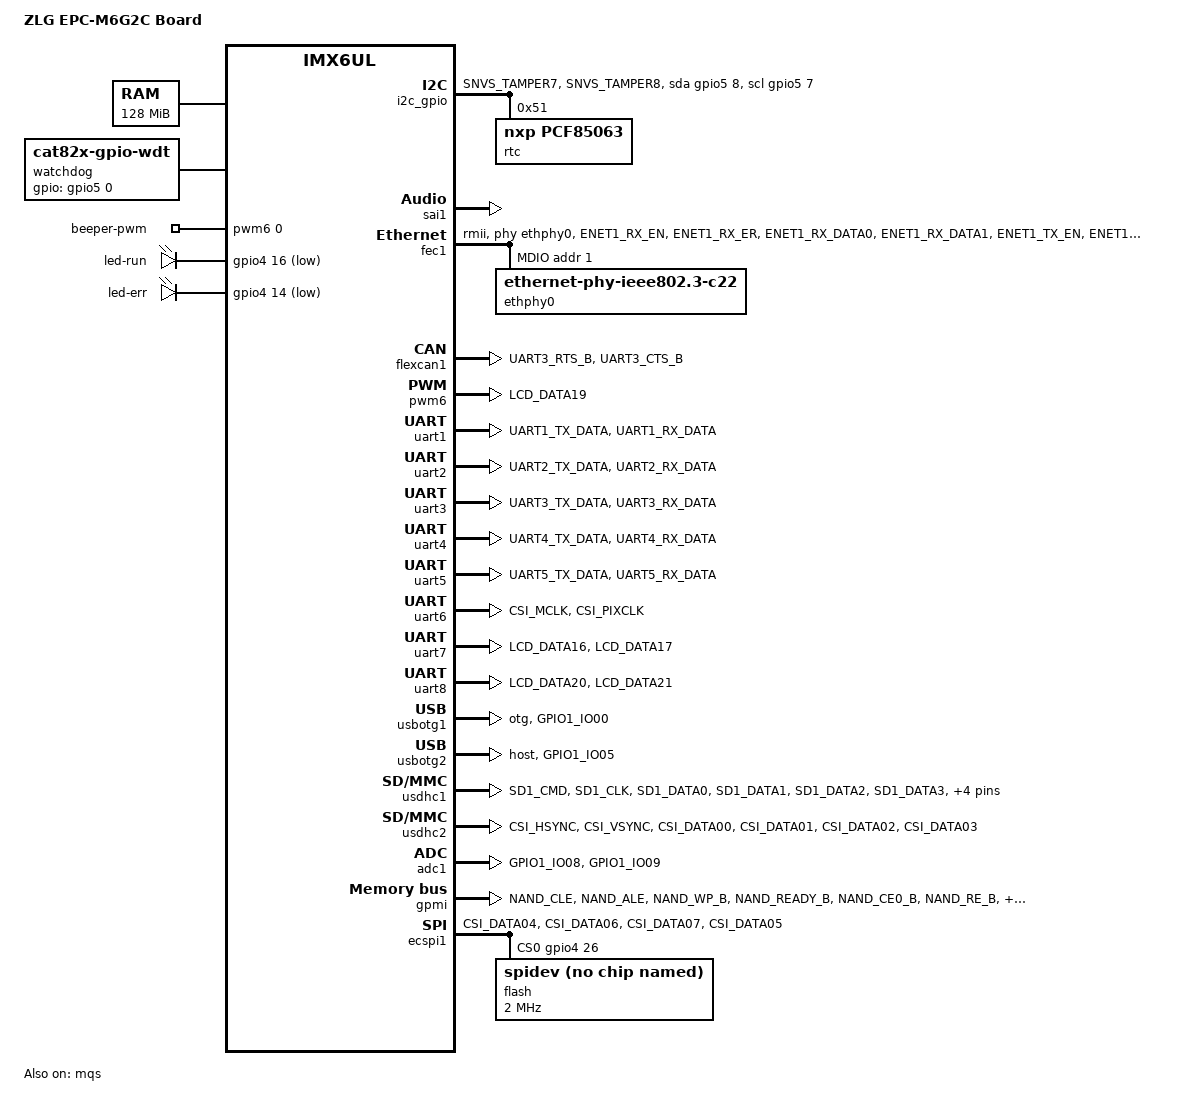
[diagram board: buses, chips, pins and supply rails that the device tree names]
/*
 * Copyright (C) 2015 Freescale Semiconductor, Inc.
 *
 * This program is free software; you can redistribute it and/or modify
 * it under the terms of the GNU General Public License version 2 as
 * published by the Free Software Foundation.
 */

/dts-v1/;

#include <dt-bindings/input/input.h>
#include "imx6g2c-base.dtsi"

/ {
    model = "ZLG EPC-M6G2C Board";
    compatible = "fsl,imx6ul-14x14-evk", "fsl,imx6ul";

	chosen {
		stdout-path = &uart1;
	};

	memory {
		reg = <0x80000000 0x8000000>;	/* 128M */
	};

    reserved-memory {
        #address-cells = <1>;
        #size-cells = <1>;
        ranges;

        linux,cma {
            compatible = "shared-dma-pool";
            reusable;
            size = <0x2000000>;		/* 32M */
            linux,cma-default;
        };
    };

	watchdog: watchdog {
		compatible = "cat82x-gpio-wdt"; 
		pinctrl-names = "default";
		pinctrl-0 = <&pinctrl_wdt>;
		gpios = <&gpio5 0 0>;
		hw_margin_ms = <700>;
	};

	beep {
		compatible = "pwm-leds";

		beep-leds {
			label = "beeper-pwm";
			pwms = <&pwm6 0 400000>;
			max-brightness = <127>;
		};
	};

	sound-mqs {
		compatible = "fsl,imx-audio-mqs";
		model = "mqs-audio";
		cpu-dai = <&sai1>;
		asrc-controller = <&asrc>;
		audio-codec = <&mqs>;
	};

	leds {
		compatible = "gpio-leds";

		green-led {
			label = "led-run";
			gpios = <&gpio4 16 1>;
			linux,default-trigger = "heartbeat";
		};

		red-led {
			label = "led-err";
			gpios = <&gpio4 14 1>;
			default-state = "keep";
		};
	};

	i2c_gpio: analog-i2c {
		compatible = "i2c-gpio";
		gpios = <&gpio5 8 0 /* sda */
				 &gpio5 7 0	/* scl */
			>;
		pinctrl-names = "default";
		pinctrl-0 = <&pinctrl_i2c>;
		i2c-gpio,delay-us = <5>;
		i2c-gpio,timeout-ms = <100>;
		#address-cells = <1>;
		#size-cells = <0>;

		rtc@51 {
			compatible = "nxp,pcf85063";
			reg = <0x51>;
		};
	};
};

&cpu0 {
	arm-supply = <&reg_arm>;
	soc-supply = <&reg_soc>;
};

&clks {
	assigned-clocks = <&clks IMX6UL_CLK_PLL4_AUDIO_DIV>;
	assigned-clock-rates = <786432000>;
};

&sai1 {
	assigned-clocks = <&clks IMX6UL_CLK_SAI1_SEL>,
			<&clks IMX6UL_CLK_SAI1>;
	assigned-clock-parents = <&clks IMX6UL_CLK_PLL4_AUDIO_DIV>;
	assigned-clock-rates = <0>, <24576000>;
	status = "okay";
};

&mqs {
	pinctrl-names = "default";
	pinctrl-0 = <&pinctrl_mqs>;
	clocks = <&clks IMX6UL_CLK_SAI1>;
	clock-names = "mclk";
	status = "okay";
};

&fec1 {
	pinctrl-names = "default";
	pinctrl-0 = <&pinctrl_enet1>;
	phy-mode = "rmii";
	phy-handle = <&ethphy0>;
	status = "okay";

	mdio {
		#address-cells = <1>;
		#size-cells = <0>;

		ethphy0: ethernet-phy@1 {
			compatible = "ethernet-phy-ieee802.3-c22";
			reg = <1>;
		};
	};
};

&flexcan1 {
	pinctrl-names = "default";
	pinctrl-0 = <&pinctrl_flexcan1>;
	status = "okay";
};

&gpc {
	fsl,cpu_pupscr_sw2iso = <0x1>;
	fsl,cpu_pupscr_sw = <0x0>;
	fsl,cpu_pdnscr_iso2sw = <0x1>;
	fsl,cpu_pdnscr_iso = <0x1>;
/*	fsl,wdog-reset = <1>;*/ /* watchdog select of reset source */
	fsl,ldo-bypass = <0>; /* use ldo-bypass, u-boot will check it and configure */
};

&pwm6 {
	pinctrl-names = "default";
	pinctrl-0 = <&pinctrl_pwm6>;
	status = "okay";
};

&uart1 {
	pinctrl-names = "default";
	pinctrl-0 = <&pinctrl_uart1>;
	status = "okay";
};

&uart2 {
	pinctrl-names = "default";
	pinctrl-0 = <&pinctrl_uart2>;
	status = "okay";
};

&uart3 {
	pinctrl-names = "default";
	pinctrl-0 = <&pinctrl_uart3>;
	status = "okay";
};

&uart4 {
	pinctrl-names = "default";
	pinctrl-0 = <&pinctrl_uart4>;
	status = "okay";
};

&uart5 {
	pinctrl-names = "default";
	pinctrl-0 = <&pinctrl_uart5>;
	status = "okay";
};

&uart6 {
	pinctrl-names = "default";
	pinctrl-0 = <&pinctrl_uart6>;
	status = "okay";
};

&uart7 {
	pinctrl-names = "default";
	pinctrl-0 = <&pinctrl_uart7>;
	status = "okay";
};

&uart8 {
	pinctrl-names = "default";
	pinctrl-0 = <&pinctrl_uart8>;
	status = "okay";
};

&usbotg1 {
	pinctrl-names = "default";
	pinctrl-0 = <&pinctrl_usbotg1>;
	dr_mode = "otg";
	hnp-disable;
	srp-disable;
	adp-disable;
	status = "okay";
};

&usbotg2 {
	pinctrl-names = "default";
	pinctrl-0 = <&pinctrl_usbotg2>;
	dr_mode = "host";
	disable-over-current;
	status = "okay";
};

&usbphy1 {
	tx-d-cal = <0x5>;
};

&usbphy2 {
	tx-d-cal = <0x5>;
};

&usdhc1 {
	pinctrl-names = "default";
	pinctrl-0 = <&pinctrl_usdhc1>;
	no-1-8-v;
	cd-gpios = <&gpio1 19 GPIO_ACTIVE_LOW>;
	wp-gpios = <&gpio1 18 GPIO_ACTIVE_HIGH>;
	keep-power-in-suspend;
	enable-sdio-wakeup;
	status = "okay";
};

&usdhc2 {
    pinctrl-names = "default", "state_100mhz", "state_200mhz";
    pinctrl-0 = <&pinctrl_usdhc2>;
    pinctrl-1 = <&pinctrl_usdhc2_100mhz>;
    pinctrl-2 = <&pinctrl_usdhc2_200mhz>;
    keep-power-in-suspend;
    enable-sdio-wakeup;
    wifi-host;
};

&adc1 {
	pinctrl-names = "default";
	pinctrl-0 = <&pinctrl_adc1>;
	num-channels = <10>;
	status = "okay";
};

&gpmi {
	pinctrl-names = "defalut";
	pinctrl-0 = <&pinctrl_gpmi_nand_1>;
	status = "okay";
	nand-on-flash-bbt;

	partition@0 {
		label = "u-boot";
		reg = <0x0000000 0x400000>;	/* 4M */
	};

	partition@400000 {
		label = "dtb";
		reg = <0x400000 0x100000>;	/* 1M */
	};

	partition@500000 {
		label = "kernel-0";
		reg = <0x500000 0x800000>;	/* 8M */
	};

	partition@d00000 {
		label = "kernel-1";
		reg = <0xd00000 0x800000>;	/* 8M */
	};

	partition@1500000 {
		label = "logo";
		reg = <0x1500000 0x400000>; /* 4M */
	};

	partition@1900000 {
		label = "rootfs";
		reg = <0x1900000 0x4900000>; /* 73M */
	};

	partition@5900000 {
		label = "opt";
		reg = <0x6200000 0x1e00000>; /* 30M */
	};
};


/*&qspi {
	pinctrl-names = "default";
	pinctrl-0 = <&pinctrl_qspi>;
	status = "okay";
	ddrsmp=<0>;

	flash0: mr25h256@0 {
		#address-cells = <1>;
		#size-cells = <1>;
		compatible = "everspin,mr25h256", "mr25h256";
		spi-max-frequency = <40000000>;
		reg = <0>;
	};
};  */

&ecspi1 {
	fsl,spi-num-chipselects = <1>;
	cs-gpios = <&gpio4 26 0>;
	pinctrl-names = "default";
	pinctrl-0 = <&pinctrl_ecspi1_1 &pinctrl_ecspi1_cs_1>;
	status = "okay";

	flash: mx25l1653@0 {
		#address-cells = <1>;
		#size-cells = <1>;
		compatible = "rohm,dh2228fv";	/* spidev */
		spi-max-frequency = <2000000>;
		reg = <0>;
	};
};

&iomuxc {
	pinctrl-names = "default";
	pinctrl-0 = <&pinctrl_hog_1>;
	imx6ul-evk {
		pinctrl_hog_1: hoggrp-1 {
			fsl,pins = <
				MX6UL_PAD_NAND_DQS__GPIO4_IO16		0x17059 /* err led */
				MX6UL_PAD_NAND_CE1_B__GPIO4_IO14	0x17059 /* run led */
				MX6UL_PAD_LCD_RESET__GPIO3_IO04		0x17059 /* gpio3_4 */
				MX6UL_PAD_SNVS_TAMPER9__GPIO5_IO09	0x17059 /* gpio5_9 */
				MX6UL_PAD_SNVS_TAMPER1__GPIO5_IO01	0x17059 /* sys mode */
				MX6UL_PAD_SNVS_TAMPER2__GPIO5_IO02	0x17059 /* clr reg  */
				MX6UL_PAD_SNVS_TAMPER3__GPIO5_IO03	0x17059 /* eth1_reset */
				MX6UL_PAD_SNVS_TAMPER4__GPIO5_IO04	0x17059 /* eth2_reset */
			>;
		};

		pinctrl_wdt: wdtgrp {
			fsl,pins = <
				MX6UL_PAD_SNVS_TAMPER0__GPIO5_IO00	0x17059 /* wdog */
			>;
		};

		pinctrl_enet1: enet1grp {
			fsl,pins = <
				MX6UL_PAD_ENET1_RX_EN__ENET1_RX_EN	0x1b0b0
				MX6UL_PAD_ENET1_RX_ER__ENET1_RX_ER	0x1b0b0
				MX6UL_PAD_ENET1_RX_DATA0__ENET1_RDATA00	0x1b0b0
				MX6UL_PAD_ENET1_RX_DATA1__ENET1_RDATA01	0x1b0b0
				MX6UL_PAD_ENET1_TX_EN__ENET1_TX_EN	0x1b0b0
				MX6UL_PAD_ENET1_TX_DATA0__ENET1_TDATA00	0x1b0b0
				MX6UL_PAD_ENET1_TX_DATA1__ENET1_TDATA01	0x1b0b0
				MX6UL_PAD_ENET1_TX_CLK__ENET1_REF_CLK1	0x4001b031
			>;
		};

		pinctrl_flexcan1: flexcan1grp{
			fsl,pins = <
				MX6UL_PAD_UART3_RTS_B__FLEXCAN1_RX	0x1b020
				MX6UL_PAD_UART3_CTS_B__FLEXCAN1_TX	0x1b020
			>;
		};

		pinctrl_pwm6: pwm6grp {
			fsl,pins = <
				MX6UL_PAD_LCD_DATA19__PWM6_OUT	0x110b0
			>;
		};

		pinctrl_mqs: mqsgrp {
			fsl,pins = <
				MX6UL_PAD_LCD_DATA22__MQS_RIGHT 0x11088
				MX6UL_PAD_LCD_DATA23__MQS_LEFT  0x11088
			>;
		};

		pinctrl_uart1: uart1grp {
			fsl,pins = <
				MX6UL_PAD_UART1_TX_DATA__UART1_DCE_TX 0x1b0b1
				MX6UL_PAD_UART1_RX_DATA__UART1_DCE_RX 0x1b0b1
			>;
		};

		pinctrl_uart2: uart2grp {
			fsl,pins = <
				MX6UL_PAD_UART2_TX_DATA__UART2_DCE_TX	0x1b0b1
				MX6UL_PAD_UART2_RX_DATA__UART2_DCE_RX	0x1b0b1
			>;
		};

		pinctrl_uart3: uart3grp {
			fsl,pins = <
				MX6UL_PAD_UART3_TX_DATA__UART3_DCE_TX	0x1b0b1
				MX6UL_PAD_UART3_RX_DATA__UART3_DCE_RX	0x1b0b1
			>;
		};

		pinctrl_uart4: uart4grp {
			fsl,pins = <
				MX6UL_PAD_UART4_TX_DATA__UART4_DCE_TX	0x1b0b1
				MX6UL_PAD_UART4_RX_DATA__UART4_DCE_RX	0x1b0b1
			>;
		};

		pinctrl_uart5: uart5grp {
			fsl,pins = <
				MX6UL_PAD_UART5_TX_DATA__UART5_DCE_TX	0x1b0b1
				MX6UL_PAD_UART5_RX_DATA__UART5_DCE_RX	0x1b0b1
			>;
		};

		pinctrl_uart6: uart6grp {
			fsl,pins = <
				MX6UL_PAD_CSI_MCLK__UART6_DCE_TX	0x1b0b1
				MX6UL_PAD_CSI_PIXCLK__UART6_DCE_RX	0x1b0b1
			>;
		};

		pinctrl_uart7: uart7grp {
			fsl,pins = <
				MX6UL_PAD_LCD_DATA16__UART7_DCE_TX	0x1b0b1
				MX6UL_PAD_LCD_DATA17__UART7_DCE_RX	0x1b0b1
			>;
		};

		pinctrl_uart8: uart8grp {
			fsl,pins = <
				MX6UL_PAD_LCD_DATA20__UART8_DCE_TX	0x1b0b1
				MX6UL_PAD_LCD_DATA21__UART8_DCE_RX	0x1b0b1
			>;
		};

		pinctrl_usbotg1: usbotg1grp {
			fsl,pins = <
				MX6UL_PAD_GPIO1_IO00__ANATOP_OTG1_ID 0x17059
			>;
		};

		pinctrl_usbotg2: usbotg2grp {
			fsl,pins = <
				MX6UL_PAD_GPIO1_IO05__ANATOP_OTG2_ID 0x17059
			>;
		};

		pinctrl_usdhc1: usdhc1grp {
			fsl,pins = <
				MX6UL_PAD_SD1_CMD__USDHC1_CMD     0x17059
				MX6UL_PAD_SD1_CLK__USDHC1_CLK     0x10059
				MX6UL_PAD_SD1_DATA0__USDHC1_DATA0 0x17059
				MX6UL_PAD_SD1_DATA1__USDHC1_DATA1 0x17059
				MX6UL_PAD_SD1_DATA2__USDHC1_DATA2 0x17059
				MX6UL_PAD_SD1_DATA3__USDHC1_DATA3 0x17059
				MX6UL_PAD_UART1_RTS_B__GPIO1_IO19	0x17059 /* SD1 CD */
				MX6UL_PAD_UART1_CTS_B__GPIO1_IO18	0x17059 /* SD1 WP */
			>;
		};

        pinctrl_usdhc2: usdhc2grp {
            fsl,pins = <
                MX6UL_PAD_CSI_HSYNC__USDHC2_CMD     0x17059
                MX6UL_PAD_CSI_VSYNC__USDHC2_CLK     0x17059
                MX6UL_PAD_CSI_DATA00__USDHC2_DATA0  0x17059
                MX6UL_PAD_CSI_DATA01__USDHC2_DATA1  0x17059
                MX6UL_PAD_CSI_DATA02__USDHC2_DATA2  0x17059
                MX6UL_PAD_CSI_DATA03__USDHC2_DATA3  0x17059
            >;
        };

        pinctrl_usdhc2_100mhz: usdhc2grp100mhz {
            fsl,pins = <
                MX6UL_PAD_CSI_HSYNC__USDHC2_CMD     0x170b9
                MX6UL_PAD_CSI_VSYNC__USDHC2_CLK     0x170b9
                MX6UL_PAD_CSI_DATA00__USDHC2_DATA0  0x170b9
                MX6UL_PAD_CSI_DATA01__USDHC2_DATA1  0x170b9
                MX6UL_PAD_CSI_DATA02__USDHC2_DATA2  0x170b9
                MX6UL_PAD_CSI_DATA03__USDHC2_DATA3  0x170b9
            >;
        };

        pinctrl_usdhc2_200mhz: usdhc2grp200mhz {
            fsl,pins = <
                MX6UL_PAD_CSI_HSYNC__USDHC2_CMD     0x170f9
                MX6UL_PAD_CSI_VSYNC__USDHC2_CLK     0x170f9
                MX6UL_PAD_CSI_DATA00__USDHC2_DATA0  0x170f9
                MX6UL_PAD_CSI_DATA01__USDHC2_DATA1  0x170f9
                MX6UL_PAD_CSI_DATA02__USDHC2_DATA2  0x170f9
                MX6UL_PAD_CSI_DATA03__USDHC2_DATA3  0x170f9
            >;
        };

		pinctrl_adc1: adc1grp {
			fsl,pins = <
				MX6UL_PAD_GPIO1_IO08__GPIO1_IO08	0xb0		/* adc 8 */
				MX6UL_PAD_GPIO1_IO09__GPIO1_IO09	0xb0		/* adc 9 */
			>;
		};

		pinctrl_gpmi_nand_1: gpmi-nand-1 {
			fsl,pins = <
				MX6UL_PAD_NAND_CLE__RAWNAND_CLE			0xb0b1
				MX6UL_PAD_NAND_ALE__RAWNAND_ALE			0xb0b1
				MX6UL_PAD_NAND_WP_B__RAWNAND_WP_B		0xb0b1
				MX6UL_PAD_NAND_READY_B__RAWNAND_READY_B 0xb0b1
				MX6UL_PAD_NAND_CE0_B__RAWNAND_CE0_B		0xb0b1
				MX6UL_PAD_NAND_RE_B__RAWNAND_RE_B		0xb0b1
				MX6UL_PAD_NAND_WE_B__RAWNAND_WE_B		0xb0b1
				MX6UL_PAD_NAND_WP_B__RAWNAND_WP_B		0xb0b1
				MX6UL_PAD_NAND_DATA00__RAWNAND_DATA00	0xb0b1
				MX6UL_PAD_NAND_DATA01__RAWNAND_DATA01	0xb0b1
				MX6UL_PAD_NAND_DATA02__RAWNAND_DATA02	0xb0b1
				MX6UL_PAD_NAND_DATA03__RAWNAND_DATA03	0xb0b1
				MX6UL_PAD_NAND_DATA04__RAWNAND_DATA04	0xb0b1
				MX6UL_PAD_NAND_DATA05__RAWNAND_DATA05	0xb0b1
				MX6UL_PAD_NAND_DATA06__RAWNAND_DATA06	0xb0b1
				MX6UL_PAD_NAND_DATA07__RAWNAND_DATA07	0xb0b1
			>;
		};

		pinctrl_ecspi1_cs_1: ecspi1_cs_grp-1 {
			fsl,pins = <
				MX6UL_PAD_CSI_DATA05__GPIO4_IO26	0x17059
			>;
		};

		pinctrl_ecspi1_1: escpi1grp {
			fsl,pins = <
				MX6UL_PAD_CSI_DATA04__ECSPI1_SCLK	0x100b1
				MX6UL_PAD_CSI_DATA06__ECSPI1_MOSI	0x100b1
				MX6UL_PAD_CSI_DATA07__ECSPI1_MISO	0x100b1
			>;
		};

		pinctrl_i2c: i2cgrp {
			fsl,pins = <
				MX6UL_PAD_SNVS_TAMPER7__GPIO5_IO07	0x4001b8b0  /*scl */
				MX6UL_PAD_SNVS_TAMPER8__GPIO5_IO08	0x4001b8b0  /*sda */
			>;
		};

		pinctrl_wifi: wifigrp {
			fsl,pins = <
				MX6UL_PAD_SNVS_TAMPER5__GPIO5_IO05	0x17059  /* WL_REG_ON */
				MX6UL_PAD_SNVS_TAMPER6__GPIO5_IO06	0x17059  /* WL_HOST_WK*/
			>;
		};

        pinctrl_blueth: bluethgrp {
            fsl,pins = <
				MX6UL_PAD_UART3_RTS_B__UART3_DCE_RTS	0x1b0b1
				MX6UL_PAD_UART3_CTS_B__UART3_DCE_CTS	0x1b0b1
				MX6UL_PAD_LCD_DATA20__GPIO3_IO25	0x17059  /* BT_WAKE */
				MX6UL_PAD_LCD_DATA21__GPIO3_IO26	0x17059  /* BT_RST_N */
            >;
        };

/*		pinctrl_qspi: qspigrp {
			fsl,pins = <
				MX6UL_PAD_NAND_DATA02__QSPI_B_DATA00 	0x70a1
				MX6UL_PAD_NAND_DATA03__QSPI_B_DATA01	0x70a1
				MX6UL_PAD_NAND_DATA04__QSPI_B_DATA02   	0x70a1
				MX6UL_PAD_NAND_DATA05__QSPI_B_DATA03    0x70a1
				MX6UL_PAD_NAND_RE_B__QSPI_B_SCLK      	0x70a1
				MX6UL_PAD_NAND_WE_B__QSPI_B_SS0_B      	0x70a1
			>;
		}; */

	};
};
